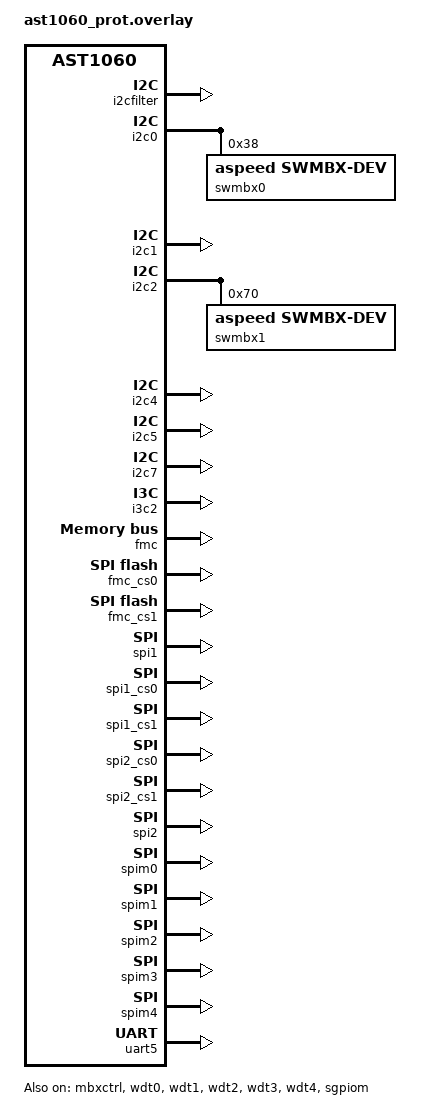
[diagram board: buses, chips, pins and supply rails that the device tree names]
#include <aspeed/ast10x0.dtsi>
#include "ast1060_prot_gpio_common.dts"
#include "ast1060_prot_gpio_bhs.dts"
#define AFM_VERSION 4

&i2cfilter {
	status = "okay";
};

&mbxctrl {
	status = "okay";
};

&i2c0 {
	status = "okay";

	swmbx0: swmbx0@38 {
		compatible = "aspeed,swmbx-dev";
		reg = <0x38>;
		size = <256>;
		port = <0>;
		status = "okay";
	};
};

&i2c1 {
	status = "okay";
};

&i2c2 {
	status = "okay";

	swmbx1: swmbx1@70 {
		compatible = "aspeed,swmbx-dev";
		reg = <0x70>;
		size = <256>;
		port = <1>;
		status = "okay";
	};
};

&i2c4 {
	status = "okay";
};

&i2c5 {
	status = "okay";
};

&i2c7 {
	status = "okay";
};

// For mctp over i3c
// BMC i3c-5 -> AST1060 i3c-2
&i3c2 {
	status = "okay";
};

&wdt0 {
	status = "okay";
};

&wdt1 {
	status = "okay";
};

&wdt2 {
	status = "okay";
};

&wdt3 {
	status = "okay";
};

&wdt4 {
	status = "okay";
};

&fmc {
	status = "okay";
};

&fmc_cs0 {
	/delete-property/ write-block-size;
	status = "okay";
	spi-max-buswidth = <4>;
	spi-max-frequency = <50000000>;
	partitions {
		compatible = "fixed-partitions";
		#address-cells = <1>;
		#size-cells = <1>;
		active_partition: partition@0 {
			label = "active";
			reg = <0x0 0x60000>;
		};

		recovery_partition: partition@60000 {
			label = "recovery";
			reg = <0x60000 0x60000>;
		};

		state_partition: partition@c0000 {
			label = "state";
			reg = <0xC0000 0x10000>;
		};

		intel_state_partition: partition@d0000 {
			label = "intel_state";
			reg = <0xD0000 0x10000>;
		};

		key_partition: partition@e0000 {
			label = "key";
			reg = <0xE0000 0x10000>;
		};

		/* For Intel-PFR 3.0 */
		afm_act_1_partition: partition@f0000 {
			label = "afm_act_1";
			reg = <0xF0000 0x10000>;
		};
	};
};

&fmc_cs1 {
	status = "okay";
	spi-max-buswidth = <4>;
	spi-max-frequency = <50000000>;
	partitions {
		compatible = "fixed-partitions";
		#address-cells = <1>;
		#size-cells = <1>;
#if (AFM_VERSION == 4)
		/* Reserved for Intel-PFR 4.0 */
		afm_act1_partition: partition@0 {
			label = "afm_active_1";
			reg = <0x0 0x20000>;
		};

		afm_act2_partition: partition@20000 {
			label = "afm_active_2";
			reg = <0x20000 0x20000>;
		};

		afm_rcv1_partition: partition@40000 {
			label = "afm_recovery_1";
			reg = <0x40000 0x20000>;
		};

		afm_rcv2_partition: partition@60000 {
			label = "afm_recovery_2";
			reg = <0x60000 0x20000>;
		};

		intel_cpld_act_partition: partition@80000 {
			label = "intel_cpld_act";
			reg = <0x80000 0x1C0000>;
		};
		intel_cpld_rc_partition: partition@240000 {
			label = "intel_cpld_rc";
			reg = <0x240000 0x1C0000>;
		};
#elif (AFM_VERSION == 3)
		intel_cpld_act_partition: partition@0 {
			label = "intel_cpld_act";
			reg = <0x000000 0x200000>;
		};
		intel_cpld_rc_partition: partition@200000 {
			label = "intel_cpld_rc";
			reg = <0x200000 0x200000>;
		};
#endif
	};
};

&spi1 {
	num-cs = <2>;
	status = "okay";
};

/* "SPI1_CS0" is used to access flash connected to SPI_Monitor_1,
 * "SPI1_CS1" is used to access flash connected to SPI_Monitor_2,
 * "SPI2_CS0" is used to access flash connected to SPI_Monitor_3,
 * "SPI2_CS1" is used to access flash connected to SPI_Monitor_4,
 */

&spi1_cs0 {
	spi-max-buswidth = <4>;
	spi-max-frequency = <50000000>;
	spi-monitor-ctrl = <&spim1>;
	status = "okay";
};

&spi1_cs1 {
	spi-max-buswidth = <4>;
	spi-max-frequency = <50000000>;
	spi-monitor-ctrl = <&spim2>;
	status = "okay";
};

&spi2_cs0 {
	spi-max-buswidth = <4>;
	spi-max-frequency = <50000000>;
	spi-monitor-ctrl = <&spim3>;
	status = "okay";
};

&spi2_cs1 {
	spi-max-buswidth = <4>;
	spi-max-frequency = <50000000>;
	spi-monitor-ctrl = <&spim4>;
	status = "okay";
};

&spi2 {
	internal-mux-master = <2>;
	spi-monitor-output-base = <3>;
	spi-monitor-common-ctrl = <&spim0>;
	pinctrl-0 = <>;

	num-cs = <2>;
	status = "okay";

	spim-proprietary-config-enable;
};

&spim0 {
	status = "okay";
};

&spim1 {
	allow-cmds = [03 13 0b 0c 6b 6c 01 05 35 06 04 20 21 9f 5a b7 e9 32 34 d8 dc 02 12 3b 3c 70 bb bc];
	log-ram-size = <0x200>;
	pinctrl-0 = <&pin_spim1csin &pin_spim1clkin &pin_spim1mosiin &pin_spim1misoin
		&pin_spim1csout &pin_spim1io2in &pin_spim1io3in>;

	pinctrl-names = "default";
	ext-mux-sel = <1>;
	ext-mux-sel-gpios = <&gpio0_a_d 12 0>, <&sgpiom_a_d 0 0>; /* SGPIO OUT #1 */
	ext-mux-sel-delay-us = <1000>;
	status = "okay";

	write-forbidden-regions = <
		0x00000000 0x08000000
	>;
};

&spim2 {
	allow-cmds = [03 13 0b 0c 6b 6c 01 05 35 06 04 20 21 9f 5a b7 e9 32 34 d8 dc 02 12 3b 3c 70 bb bc];
	log-ram-size = <0x200>;
	pinctrl-0 = <&pin_spim2csin &pin_spim2clkin &pin_spim2mosiin &pin_spim2misoin
		&pin_spim2csout &pin_spim2io2in &pin_spim2io3in>;

	pinctrl-names = "default";
	ext-mux-sel = <1>;
	ext-mux-sel-gpios = <&gpio0_a_d 12 0>, <&sgpiom_a_d 0 0>; /* SGPIO OUT #1 */
	ext-mux-sel-delay-us = <1000>;
	status = "okay";

	write-forbidden-regions = <
		0x00000000 0x08000000
	>;
};


&spim3 {
	allow-cmds = [03 13 0b 0c 6b 6c 01 05 35 06 04 20 21 9f 5a b7 e9 32 34 d8 dc 02 12 3b 3c 70 bb bc];
	log-ram-size = <0x200>;
	pinctrl-0 = <&pin_spim3csin &pin_spim3clkin &pin_spim3mosiin &pin_spim3misoin
		&pin_spim3csout &pin_spim3io2in &pin_spim3io3in &pin_spim3clkout
		&pin_spim3misoout &pin_spim3mosiout &pin_spim3io2out &pin_spim3io3out>;

	pinctrl-names = "default";
	ext-mux-sel = <1>;
	ext-mux-sel-gpios = <&gpio0_e_h 8 0>, <&sgpiom_a_d 2 0>; /* SGPIO OUT #3 */
	ext-mux-sel-delay-us = <1000>;
	status = "okay";

	write-forbidden-regions = <
		0x00000000 0x08000000
	>;
};

&spim4 {
	allow-cmds = [03 13 0b 0c 6b 6c 01 05 35 06 04 20 21 9f 5a b7 e9 32 34 d8 dc 02 12 3b 3c 70 bb bc];
	log-ram-size = <0x200>;
	pinctrl-0 = <&pin_spim4csin &pin_spim4clkin &pin_spim4mosiin &pin_spim4misoin
		&pin_spim4csout &pin_spim4io2in &pin_spim4io3in &pin_spim4clkout
		&pin_spim4misoout &pin_spim4mosiout &pin_spim4io2out &pin_spim4io3out>;

	pinctrl-names = "default";
	ext-mux-sel = <1>;
	ext-mux-sel-gpios = <&gpio0_e_h 8 0>, <&sgpiom_a_d 2 0>; /* SGPIO OUT #3 */
	ext-mux-sel-delay-us = <1000>;
	status = "okay";

	write-forbidden-regions = <
		0x00000000 0x08000000
	>;
};

&sgpiom {
	status = "okay";
	sgpiom_a_d {
		status = "okay";
	};
	sgpiom_e_h {
		status = "okay";
	};
	sgpiom_i_l {
		status = "okay";
	};
	sgpiom_m_p {
		status = "okay";
	};
};

&uart5 {
	status = "okay";
};
